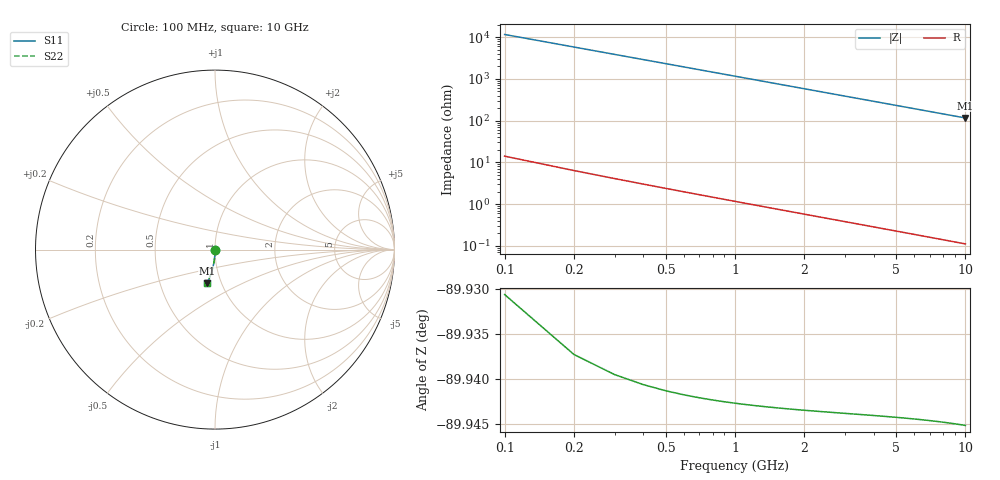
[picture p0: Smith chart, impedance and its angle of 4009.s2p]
# Hz S RI R 50.00
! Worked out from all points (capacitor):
!   100 points, 100 MHz to 10 GHz, reference 50 ohm
!   read as one part in shunt: C = 137 fF near 100 MHz
!   lowest |Z| = 116 ohm at 10 GHz (marker M1)
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1e8  0.000125 -0.00195  0.9999 -0.00235  0.9999 -0.00235  0.000125 -0.00195
2e8  0.00011 -0.00391  0.9998 -0.00469  0.9998 -0.00469  0.00011 -0.00391
3e8  8.61e-05 -0.00586  0.9998 -0.00704  0.9998 -0.00704  8.61e-05 -0.00586
4e8  5.25e-05 -0.00782  0.9998 -0.00938  0.9998 -0.00938  5.25e-05 -0.00782
5e8  9.61e-06 -0.00977  0.9997 -0.0117  0.9997 -0.0117  9.61e-06 -0.00977
6e8  -4.25e-05 -0.0117  0.9997 -0.0141  0.9997 -0.0141  -4.25e-05 -0.0117
7e8  -0.000104 -0.0137  0.9996 -0.0164  0.9996 -0.0164  -0.000104 -0.0137
8e8  -0.000174 -0.0156  0.9995 -0.0188  0.9995 -0.0188  -0.000174 -0.0156
9e8  -0.000254 -0.0176  0.9995 -0.0211  0.9995 -0.0211  -0.000254 -0.0176
1.1e9  -0.000441 -0.0215  0.9993 -0.0258  0.9993 -0.0258  -0.000441 -0.0215
1.4e9  -0.00079 -0.0273  0.9989 -0.0328  0.9989 -0.0328  -0.00079 -0.0273
1.8e9  -0.00138 -0.0351  0.9983 -0.0422  0.9983 -0.0422  -0.00138 -0.0351
2.1e9  -0.00192 -0.041  0.9978 -0.0492  0.9978 -0.0492  -0.00192 -0.041
2.5e9  -0.00277 -0.0487  0.9969 -0.0585  0.9969 -0.0585  -0.00277 -0.0487
2.9e9  -0.00377 -0.0565  0.9959 -0.0679  0.9959 -0.0679  -0.00377 -0.0565
3.4e9  -0.00522 -0.0661  0.9944 -0.0795  0.9944 -0.0795  -0.00522 -0.0661
4.2e9  -0.008 -0.0815  0.9916 -0.098  0.9916 -0.098  -0.008 -0.0815
5.1e9  -0.0118 -0.0986  0.9877 -0.1186  0.9877 -0.1186  -0.0118 -0.0986
5.9e9  -0.0158 -0.1136  0.9837 -0.1368  0.9837 -0.1368  -0.0158 -0.1136
6.7e9  -0.0203 -0.1285  0.979 -0.1548  0.979 -0.1548  -0.0203 -0.1285
8.4e9  -0.0317 -0.1593  0.9675 -0.1923  0.9675 -0.1923  -0.0317 -0.1593
1e10  -0.0445 -0.1871  0.9544 -0.2266  0.9544 -0.2266  -0.0445 -0.1871
